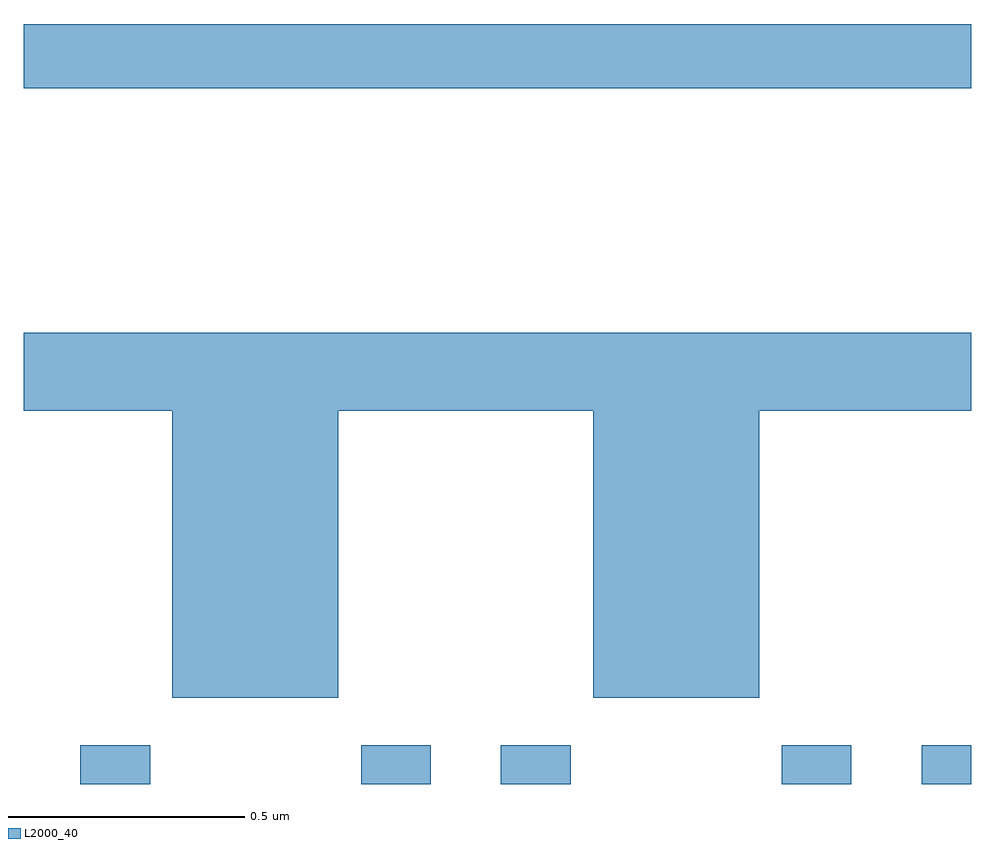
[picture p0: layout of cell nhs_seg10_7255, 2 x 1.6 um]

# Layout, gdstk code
import gdstk
lib = gdstk.Library(unit=1e-6, precision=1e-09)
def R(c, l, rs):  # rectangles x0, y0, x1, y1
    for r in rs: c.add(gdstk.rectangle(r[:2], r[2:], *l))
def P(c, l, *ps):  # polygons
    for p in ps: c.add(gdstk.Polygon(p, *l))
L2000_40 = (2000, 40)

nhs_seg10_7255 = lib.new_cell('nhs_seg10_7255')
R(nhs_seg10_7255, L2000_40, [(201.119,1327.5,201.267,1327.582), (201.712,1327.5,201.859,1327.582), (202.007,1327.5,202.155,1327.582), (202.6,1327.5,202.747,1327.582), (202.895,1327.5,203,1327.582), (201,1328.968,203,1329.104)])
P(nhs_seg10_7255, L2000_40, [(201.664,1328.288),(202.202,1328.288),(202.202,1327.682),(202.552,1327.682),(202.552,1328.288),(203,1328.288),(203,1328.452),(201,1328.452),(201,1328.288),(201.314,1328.288),(201.314,1327.682),(201.664,1327.682)])

lib.write_gds('nhs_seg10_7255.gds')
